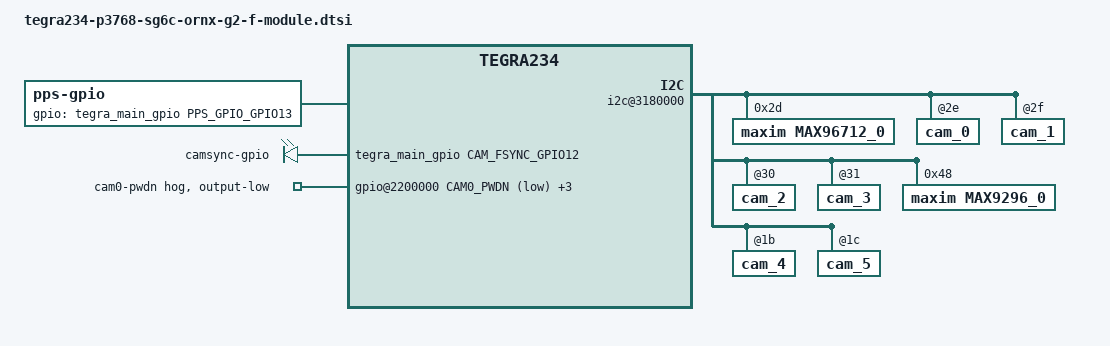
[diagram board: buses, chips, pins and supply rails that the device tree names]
/*
 * Copyright (c) 2018-2021, NVIDIA CORPORATION.  All rights reserved.
 *
 * This program is free software; you can redistribute it and/or modify it
 * under the terms and conditions of the GNU General Public License,
 * version 2, as published by the Free Software Foundation.
 *
 * This program is distributed in the hope it will be useful, but WITHOUT
 * ANY WARRANTY; without even the implied warranty of MERCHANTABILITY or
 * FITNESS FOR A PARTICULAR PURPOSE.  See the GNU General Public License for
 * more details.
 *
 * You should have received a copy of the GNU General Public License
 * along with this program.  If not, see <http://www.gnu.org/licenses/>.
 */

#include "dt-bindings/clock/tegra234-clock.h"

#if defined(SGX_YUV_GMSL2)
#include "sgx-yuv-gmsl.dtsi"
#endif


//For gpio@2200000
#define CAM0_RST_L	TEGRA234_MAIN_GPIO(H, 3)   //DER PWDNB
#define CAM0_PWDN	TEGRA234_MAIN_GPIO(H, 6)
#define CAM1_RST_L	TEGRA234_MAIN_GPIO(AC, 1)
#define CAM1_PWDN	TEGRA234_MAIN_GPIO(AC, 0)

#define CAMERA_I2C_MUX_BUS(x) (0x1E + x)

//For syn tirgger
#define CAM_FSYNC_GPIO12	TEGRA234_MAIN_GPIO(N, 1)
//For PPS
#define PPS_GPIO_GPIO13	TEGRA234_MAIN_GPIO(H, 0)

// For wifi
#define WLAN_PWDN	TEGRA234_MAIN_GPIO(Y, 3)
#define WLAN_RESET	TEGRA234_MAIN_GPIO(Q, 6)

/* camera control gpio definitions */
/ {

    pps {
            gpios = <&tegra_main_gpio PPS_GPIO_GPIO13 GPIO_ACTIVE_HIGH>;                 
            compatible = "pps-gpio";
            status = "okay";
    };

	leds{
  		compatible = "gpio-leds";
		status = "okay";
		camsync { 
    		label = "camsync-gpio";
            gpios = <&tegra_main_gpio CAM_FSYNC_GPIO12 GPIO_ACTIVE_HIGH>;
            default-state = "on";
        };
    };

	gpio@2200000 {
		camera-control-output-low {
			gpio-hog;
			output-low;
			gpios = <CAM0_PWDN 1 CAM1_PWDN 1 WLAN_PWDN 1 WLAN_RESET 1>;
			label = "cam0-pwdn", "cam1-pwdn", "wlan-pwdn", "wlan-reset";
		};
	};

	i2c@3180000 {

		max96712_0@2d {
			compatible = "maxim,max96712_0";
			reg = <0x2d>;
			// reset-gpios = <&tegra_main_gpio CAM0_PWDN GPIO_ACTIVE_HIGH>;
			// poc-gpios = <&tegra_main_gpio POC_EN GPIO_ACTIVE_LOW>;
		};
		cam_0@2e {
			/* Define any required hw resources needed by driver */
			/* ie. clocks, io pins, power sources */
			clocks = <&bpmp_clks TEGRA234_CLK_EXTPERIPH1>,
					<&bpmp_clks TEGRA234_CLK_EXTPERIPH1>;
			clock-names = "extperiph1", "pllp_grtba";
			mclk = "extperiph1";
			der_id = <0>;//
			ser_id = <0>;//
		};
		cam_1@2f {
			/* Define any required hw resources needed by driver */
			/* ie. clocks, io pins, power sources */
			clocks = <&bpmp_clks TEGRA234_CLK_EXTPERIPH1>,
					<&bpmp_clks TEGRA234_CLK_EXTPERIPH1>;
			clock-names = "extperiph1", "pllp_grtba";
			mclk = "extperiph1";
			der_id = <0>;//
			ser_id = <1>;//
		};
		cam_2@30 {
			/* Define any required hw resources needed by driver */
			/* ie. clocks, io pins, power sources */
			clocks = <&bpmp_clks TEGRA234_CLK_EXTPERIPH1>,
					<&bpmp_clks TEGRA234_CLK_EXTPERIPH1>;
			clock-names = "extperiph1", "pllp_grtba";
			mclk = "extperiph1";
			der_id = <0>;//
			ser_id = <2>;//
		};
		cam_3@31 {
			/* Define any required hw resources needed by driver */
			/* ie. clocks, io pins, power sources */
			clocks = <&bpmp_clks TEGRA234_CLK_EXTPERIPH1>,
					<&bpmp_clks TEGRA234_CLK_EXTPERIPH1>;
			clock-names = "extperiph1", "pllp_grtba";
			mclk = "extperiph1";
			der_id = <0>;//
			ser_id = <3>;//
		};

		max9296_0@48 {
			compatible = "maxim,max9296_0";
			// reset-gpios = <&tegra_main_gpio CAM1_RST_L GPIO_ACTIVE_HIGH>;
			// poc-gpios = <&tegra_aon_gpio POC_EN GPIO_ACTIVE_LOW>;
			reg = <0x48>;
		};

		cam_4@1b {
			/* Define any required hw resources needed by driver */
			/* ie. clocks, io pins, power sources */
			clocks = <&bpmp_clks TEGRA234_CLK_EXTPERIPH1>,
					<&bpmp_clks TEGRA234_CLK_EXTPERIPH1>;
			clock-names = "extperiph1", "pllp_grtba";
			mclk = "extperiph1";
			der_id = <0>;//
		};
		cam_5@1c {
			/* Define any required hw resources needed by driver */
			/* ie. clocks, io pins, power sources */
			clocks = <&bpmp_clks TEGRA234_CLK_EXTPERIPH1>,
					<&bpmp_clks TEGRA234_CLK_EXTPERIPH1>;
			clock-names = "extperiph1", "pllp_grtba";
			mclk = "extperiph1";
			der_id = <0>;//
		};
	};
};
